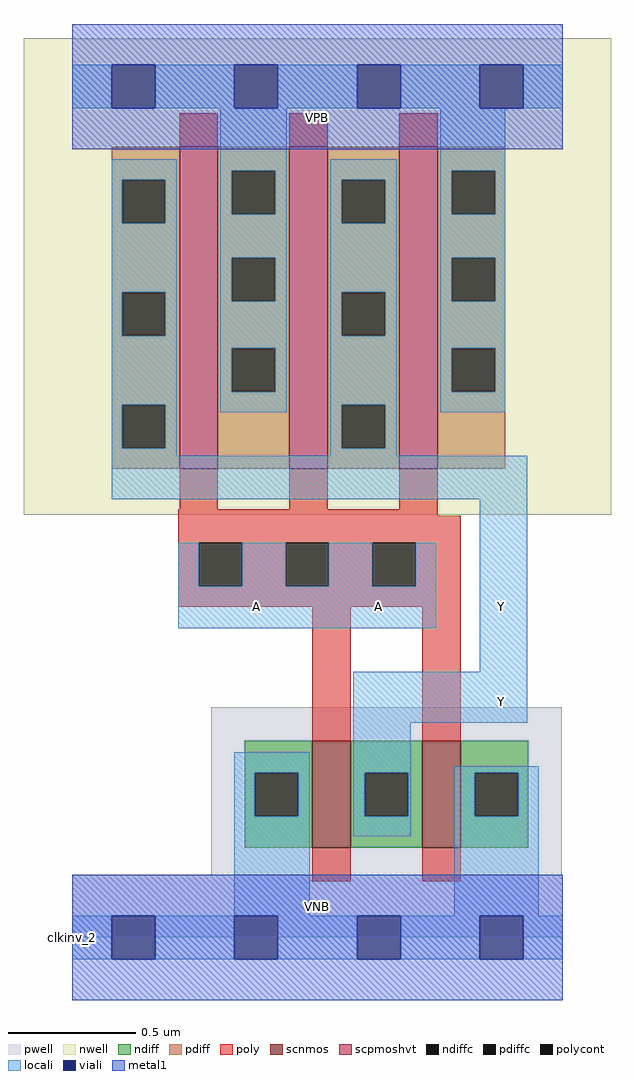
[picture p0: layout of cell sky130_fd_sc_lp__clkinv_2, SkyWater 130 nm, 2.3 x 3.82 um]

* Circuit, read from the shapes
.subckt sky130_fd_sc_lp__clkinv_2 A VGND VNB VPB VPWR Y
XM1 Y A VGND VNB sky130_fd_pr__nfet_01v8 w=0.42 l=0.15 m=2
XM2 VPWR A Y VPB sky130_fd_pr__pfet_01v8_hvt w=1.26 l=0.15 m=3
.ends

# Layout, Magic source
magic
tech sky130A
magscale 1 2
<< nwell >>
rect -38 331 422 704
<< pwell >>
rect 109 49 383 180
rect 0 0 384 49
<< scnmos >>
rect 188 70 218 154
rect 274 70 304 154
<< scpmoshvt >>
rect 84 367 114 619
rect 170 367 200 619
rect 256 367 286 619
<< ndiff >>
rect 135 129 188 154
rect 135 95 143 129
rect 177 95 188 129
rect 135 70 188 95
rect 218 129 274 154
rect 218 95 229 129
rect 263 95 274 129
rect 218 70 274 95
rect 304 129 357 154
rect 304 95 315 129
rect 349 95 357 129
rect 304 70 357 95
<< pdiff >>
rect 31 593 84 619
rect 31 559 39 593
rect 73 559 84 593
rect 31 505 84 559
rect 31 471 39 505
rect 73 471 84 505
rect 31 417 84 471
rect 31 383 39 417
rect 73 383 84 417
rect 31 367 84 383
rect 114 600 170 619
rect 114 566 125 600
rect 159 566 170 600
rect 114 532 170 566
rect 114 498 125 532
rect 159 498 170 532
rect 114 461 170 498
rect 114 427 125 461
rect 159 427 170 461
rect 114 367 170 427
rect 200 593 256 619
rect 200 559 211 593
rect 245 559 256 593
rect 200 505 256 559
rect 200 471 211 505
rect 245 471 256 505
rect 200 417 256 471
rect 200 383 211 417
rect 245 383 256 417
rect 200 367 256 383
rect 286 600 339 619
rect 286 566 297 600
rect 331 566 339 600
rect 286 532 339 566
rect 286 498 297 532
rect 331 498 339 532
rect 286 461 339 498
rect 286 427 297 461
rect 331 427 339 461
rect 286 367 339 427
<< ndiffc >>
rect 143 95 177 129
rect 229 95 263 129
rect 315 95 349 129
<< pdiffc >>
rect 39 559 73 593
rect 39 471 73 505
rect 39 383 73 417
rect 125 566 159 600
rect 125 498 159 532
rect 125 427 159 461
rect 211 559 245 593
rect 211 471 245 505
rect 211 383 245 417
rect 297 566 331 600
rect 297 498 331 532
rect 297 427 331 461
<< poly >>
rect 84 619 114 645
rect 170 619 200 645
rect 256 619 286 645
rect 84 335 114 367
rect 170 335 200 367
rect 256 335 286 367
rect 83 330 286 335
rect 83 309 304 330
rect 83 275 99 309
rect 133 275 167 309
rect 201 275 235 309
rect 269 275 304 309
rect 83 259 304 275
rect 188 154 218 259
rect 274 154 304 259
rect 188 44 218 70
rect 274 44 304 70
<< polycont >>
rect 99 275 133 309
rect 167 275 201 309
rect 235 275 269 309
<< locali >>
rect 0 649 31 683
rect 65 649 127 683
rect 161 649 223 683
rect 257 649 319 683
rect 353 649 384 683
rect 31 593 82 609
rect 31 559 39 593
rect 73 559 82 593
rect 31 505 82 559
rect 31 471 39 505
rect 73 471 82 505
rect 31 417 82 471
rect 31 383 39 417
rect 73 383 82 417
rect 116 600 168 649
rect 116 566 125 600
rect 159 566 168 600
rect 116 532 168 566
rect 116 498 125 532
rect 159 498 168 532
rect 116 461 168 498
rect 116 427 125 461
rect 159 427 168 461
rect 116 411 168 427
rect 202 593 254 609
rect 202 559 211 593
rect 245 559 254 593
rect 202 505 254 559
rect 202 471 211 505
rect 245 471 254 505
rect 202 417 254 471
rect 31 377 82 383
rect 202 383 211 417
rect 245 383 254 417
rect 288 600 339 649
rect 288 566 297 600
rect 331 566 339 600
rect 288 532 339 566
rect 288 498 297 532
rect 331 498 339 532
rect 288 461 339 498
rect 288 427 297 461
rect 331 427 339 461
rect 288 411 339 427
rect 202 377 254 383
rect 31 343 356 377
rect 83 275 99 309
rect 133 275 167 309
rect 201 275 235 309
rect 269 275 285 309
rect 83 242 285 275
rect 319 208 356 343
rect 220 168 356 208
rect 127 129 186 145
rect 127 95 143 129
rect 177 95 186 129
rect 127 17 186 95
rect 220 129 265 168
rect 220 95 229 129
rect 263 95 265 129
rect 220 79 265 95
rect 299 129 365 134
rect 299 95 315 129
rect 349 95 365 129
rect 299 17 365 95
rect 0 -17 31 17
rect 65 -17 127 17
rect 161 -17 223 17
rect 257 -17 319 17
rect 353 -17 384 17
<< viali >>
rect 31 649 65 683
rect 127 649 161 683
rect 223 649 257 683
rect 319 649 353 683
rect 31 -17 65 17
rect 127 -17 161 17
rect 223 -17 257 17
rect 319 -17 353 17
<< metal1 >>
rect 0 683 384 715
rect 0 649 31 683
rect 65 649 127 683
rect 161 649 223 683
rect 257 649 319 683
rect 353 649 384 683
rect 0 617 384 649
rect 0 17 384 49
rect 0 -17 31 17
rect 65 -17 127 17
rect 161 -17 223 17
rect 257 -17 319 17
rect 353 -17 384 17
rect 0 -49 384 -17
<< labels >>
flabel pwell s 0 0 384 49 0 FreeSans 200 0 0 0 VNB
port 3 nsew ground bidirectional
flabel nwell s 0 617 384 666 0 FreeSans 200 0 0 0 VPB
port 4 nsew power bidirectional
rlabel comment s 0 0 0 0 4 clkinv_2
flabel metal1 s 0 617 384 666 0 FreeSans 340 0 0 0 VPWR
port 5 nsew power bidirectional
flabel metal1 s 0 0 384 49 0 FreeSans 340 0 0 0 VGND
port 2 nsew ground bidirectional
flabel locali s 127 242 161 276 0 FreeSans 340 0 0 0 A
port 1 nsew signal input
flabel locali s 223 242 257 276 0 FreeSans 340 0 0 0 A
port 1 nsew signal input
flabel locali s 319 168 353 202 0 FreeSans 340 0 0 0 Y
port 6 nsew signal output
flabel locali s 319 242 353 276 0 FreeSans 340 0 0 0 Y
port 6 nsew signal output
<< properties >>
string LEFsite unit
string LEFclass CORE
string FIXED_BBOX 0 0 384 666
string GDS_FILE $PDKPATH/libs.ref/sky130_fd_sc_lp/gds/sky130_fd_sc_lp.gds
string LEFsymmetry X Y R90
string GDS_END 4743600
string GDS_START 4739450
<< end >>
